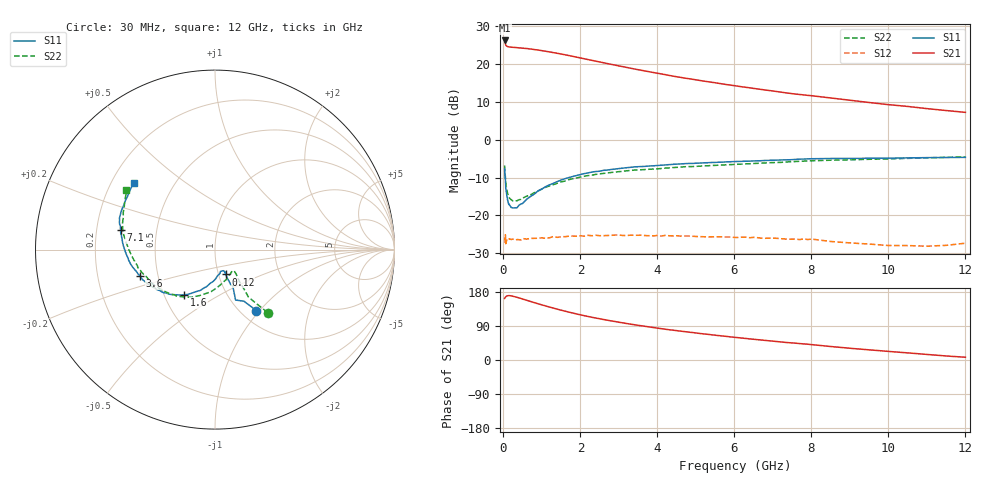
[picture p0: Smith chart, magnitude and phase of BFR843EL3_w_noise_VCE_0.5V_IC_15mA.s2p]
! Infineon Technologies  Discrete & RF Semiconductors
! BFR843EL3
! VCE =  0.5 V,  IC =  15 mA
! Common Emitter S-Parameters:  Aug 2013
# GHz  S  MA  R  50
!  f  S11  S21  S12  S22
! GHz  MAG  ANG  MAG  ANG  MAG  ANG  MAG  ANG
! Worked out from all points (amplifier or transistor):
!   103 points, 30 MHz to 12 GHz, reference 50 ohm
!   highest |S21| = 26.3 dB at 30 MHz (marker M1)
!   |S21| within 3 dB of that: start of sweep to 1.181 GHz
!   unconditionally stable (mu >= 1): 5.235 GHz to end of sweep
!   at 400 MHz: K = 0.99, MSG = 25.4 dB, |S12| = -26.4 dB
!   at 3.7 GHz: K = 0.86, MSG = 21.8 dB, |S12| = -25.4 dB
!   at 12 GHz: K = 2.27, MAG = 11.0 dB, |S12| = -27.4 dB
!   lowest NFmin = 0.99 dB at 900 MHz
!   S11 on the Smith chart (normalised r, x): 30 MHz: 1.18, -0.96; 120 MHz: 1.08, -0.31; 1.6 GHz: 0.63, -0.35; 3.6 GHz: 0.40, -0.15; 7.1 GHz: 0.30, +0.09; 12 GHz: 0.29, +0.33
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0.03  0.4111 -55.8  20.58 162.5  0.0433 28.5  0.4569 -50.1
0.04  0.3292 -60.8  19.26 164.0  0.0443 22.2  0.3716 -52.8
0.06  0.226 -64.0  17.9 166.9  0.0421 11.2  0.2748 -53.7
0.08  0.1947 -66.0  17.4 168.6  0.0467 11.6  0.2285 -52.9
0.12  0.1508 -66.8  17.03 169.7  0.047 8.5  0.1846 -49.5
0.15  0.1393 -65.5  16.88 169.9  0.0489 7.1  0.1704 -48.7
0.25  0.1253 -70.8  16.7 168.2  0.0485 6.2  0.1549 -49.3
0.6  0.1626 -88.7  16.11 157.7  0.0484 4.5  0.1788 -69.9
1  0.223 -106.3  15.09 145.4  0.0504 4.4  0.2235 -91.5
1.2  0.2539 -113.5  14.51 139.6  0.0505 4.3  0.2457 -100.1
1.6  0.3052 -124.3  13.3 128.9  0.0522 3.9  0.2844 -113.3
2.1  0.3568 -135.9  11.78 116.9  0.0531 3.4  0.3288 -127.6
2.8  0.4049 -148.9  9.942 103.1  0.0543 2.7  0.3689 -141.7
3.3  0.4316 -156.1  8.835 94.6  0.0547 1.0  0.3922 -149.8
3.6  0.4424 -160.4  8.261 90.1  0.0546 -0.3  0.4014 -154.3
4.1  0.4604 -165.8  7.423 82.7  0.0532 -0.5  0.4164 -159.6
5.1  0.4916 -176.0  6.083 70.0  0.0523 -1.7  0.4468 -170.1
6.1  0.5165 175.6  5.101 58.9  0.051 -1.8  0.4746 -178.5
7.1  0.5377 168.2  4.339 48.7  0.0497 -2.5  0.5002 174.1
8.5  0.5646 157.5  3.572 35.6  0.0451 -3.5  0.5362 163.9
10.5  0.5754 146.2  2.759 18.8  0.0398 7.6  0.5673 152.6
12  0.5843 140.3  2.302 7.3  0.0428 18.7  0.595 146.1
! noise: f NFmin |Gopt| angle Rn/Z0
0.45  1  0.06  107  0.12
0.9  0.99  0.07  113  0.12
1.5  1.01  0.08  117  0.11
1.9  1.02  0.08  121  0.11
2.4  1.03  0.09  126  0.11
3.5  1.05  0.12  140  0.1
5.5  1.09  0.18  162  0.1
8  1.14  0.3  190  0.07
10  1.18  0.42  217  0.07
